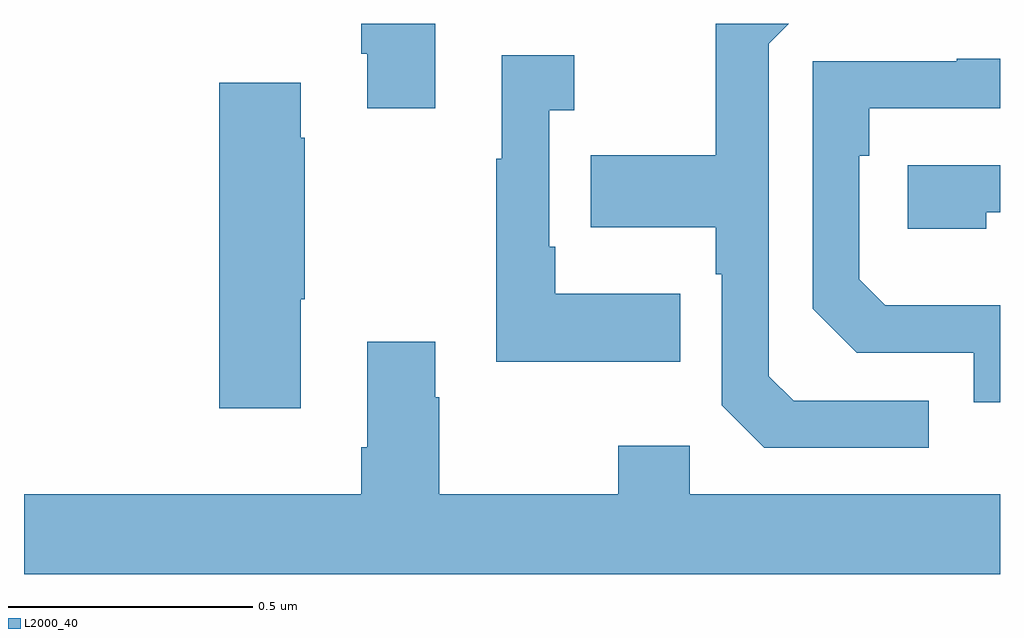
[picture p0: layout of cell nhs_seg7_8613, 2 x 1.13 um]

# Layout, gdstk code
import gdstk
lib = gdstk.Library(unit=1e-6, precision=1e-09)
def P(c, l, *ps):  # polygons
    for p in ps: c.add(gdstk.Polygon(p, *l))
L2000_40 = (2000, 40)

nhs_seg7_8613 = lib.new_cell('nhs_seg7_8613')
P(nhs_seg7_8613, L2000_40, [(226.843,1079),(226.691,1079),(226.691,1078.939),(226.703,1078.939),(226.703,1078.827),(226.843,1078.827)],
  [(227.854,1078.227),(227.577,1078.227),(227.526,1078.278),(227.526,1078.959),(227.567,1079),(227.418,1079),(227.418,1078.731),(227.161,1078.731),(227.161,1078.583),(227.418,1078.583),(227.418,1078.487),(227.43,1078.487),(227.43,1078.218),(227.517,1078.131),(227.854,1078.131)],
  [(227.345,1078.447),(227.089,1078.447),(227.089,1078.543),(227.076,1078.543),(227.076,1078.823),(227.128,1078.823),(227.128,1078.936),(226.979,1078.936),(226.979,1078.723),(226.968,1078.723),(226.968,1078.307),(227.345,1078.307)],
  [(228,1078.423),(227.765,1078.423),(227.712,1078.476),(227.712,1078.73),(227.732,1078.73),(227.732,1078.827),(228,1078.827),(228,1078.928),(227.911,1078.928),(227.911,1078.923),(227.616,1078.923),(227.616,1078.416),(227.706,1078.326),(227.946,1078.326),(227.946,1078.224),(228,1078.224)],
  [(226.567,1078.435),(226.575,1078.435),(226.575,1078.766),(226.567,1078.766),(226.567,1078.879),(226.4,1078.879),(226.4,1078.212),(226.567,1078.212)],
  [(227.972,1078.614),(228,1078.614),(228,1078.71),(227.811,1078.71),(227.811,1078.58),(227.972,1078.58)],
  [(228,1078.036),(227.364,1078.036),(227.364,1078.135),(227.218,1078.135),(227.218,1078.036),(226.851,1078.036),(226.851,1078.235),(226.843,1078.235),(226.843,1078.348),(226.703,1078.348),(226.703,1078.132),(226.691,1078.132),(226.691,1078.036),(226,1078.036),(226,1077.872),(228,1077.872)])

lib.write_gds('nhs_seg7_8613.gds')
